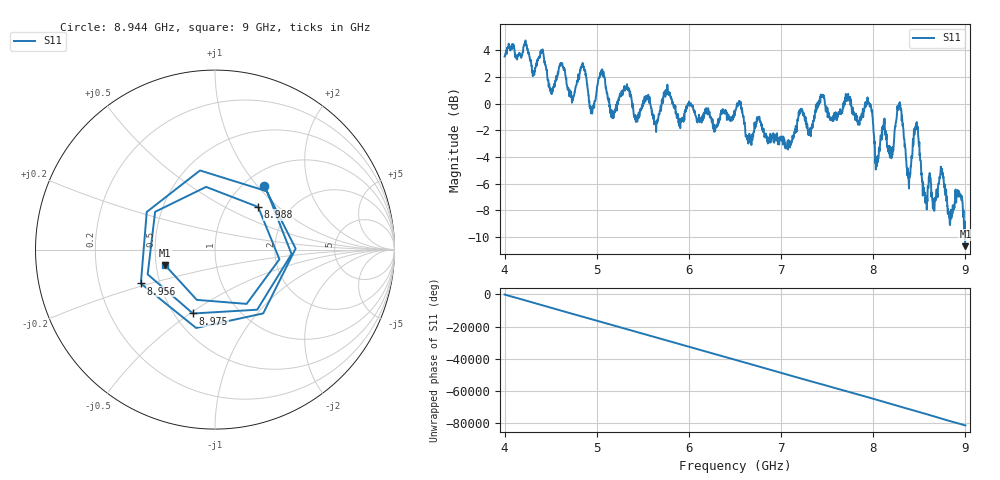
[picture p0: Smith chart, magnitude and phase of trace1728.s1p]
! Created with skrf 1.8.0 (http://scikit-rf.org).
# Hz S RI R 50.0
!freq ReS11 ImS11
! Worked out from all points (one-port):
!   1601 points, 4 GHz to 9 GHz, reference 50 ohm
!   lowest |S11| = -10.7 dB at 9 GHz (marker M1), VSWR 1.83, Z = 27.8 - j5.16 ohm
!   |S11| at or under -10 dB: 8.995885 GHz to end of sweep
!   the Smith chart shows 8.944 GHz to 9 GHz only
!   S11 on the Smith chart (normalised r, x): 8.944 GHz: 1.22, +1.08; 8.956 GHz: 0.39, -0.19; 8.975 GHz: 0.62, -0.51; 8.988 GHz: 1.40, +0.75; 9 GHz: 0.56, -0.10
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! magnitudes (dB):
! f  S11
! 4 GHz  3.5
! 4.403 GHz  3.8
! 4.512 GHz  0.7
! 4.625 GHz  3.0
! 4.734 GHz  0.4
! 4.85 GHz  2.9
! 4.947 GHz  -0.6
! 5.05 GHz  2.4
! 5.162 GHz  -0.9
! 5.25 GHz  0.7
! 5.875 GHz  -0.9
! 6.5 GHz  -0.6
! 7.125 GHz  -2.4
! 7.444 GHz  0.5
! 7.75 GHz  0.5
! 7.962 GHz  -0.2
! 8.044 GHz  -4.0
! 8.109 GHz  -1.9
! 8.203 GHz  -4.0
! 8.288 GHz  0.1
! 8.375 GHz  -5.3
! 8.466 GHz  -1.5
! 8.562 GHz  -6.7
! 8.944 GHz  -7.0
! 8.956 GHz  -6.9
! 8.975 GHz  -8.5
! 8.988 GHz  -9.4
! 9 GHz  -10.7
